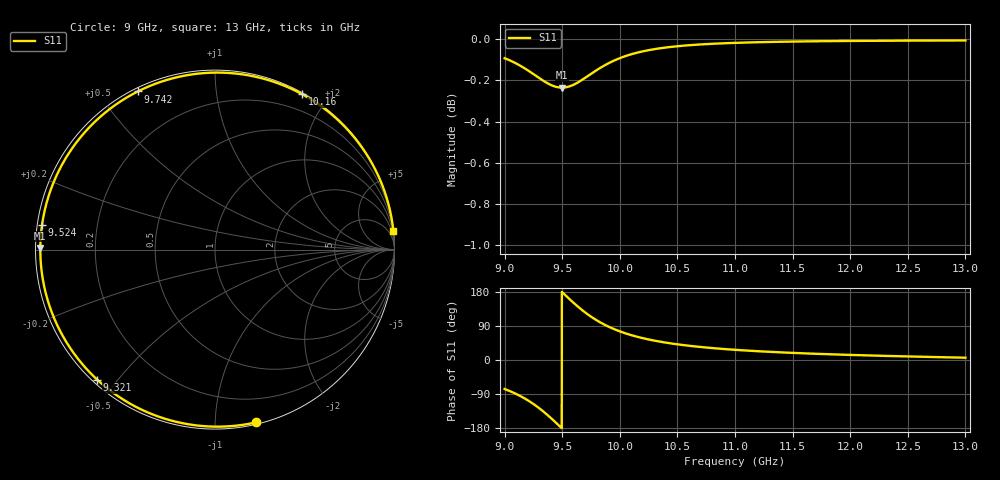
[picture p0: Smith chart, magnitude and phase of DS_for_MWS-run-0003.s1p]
! TOUCHSTONE file generated by CST DESIGN STUDIO
! Date and time: Wed Feb  5 13:28:53 2025
! Project name: C:\Work\MatlabApps\UnitCellOptimizationMatlab\CST\unitcell.cst
! Tree item: Tasks\Sweep1\SPara1\S-Parameters
! Header version: 2024
! Port assignment regex: !\s*Touchstone port\s*([0-9]+)\s*=\s*(CST MWS port|CST DES external port|CST DES block port)\s*(.+)\s* \(\"(.*)\"\)(\s*mode\s*([0-9]+))?.*
! Touchstone port assignment:
! Touchstone port 1 = CST DES external port 1 ("")
# GHz S MA R 50
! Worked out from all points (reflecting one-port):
!   4001 points, 9 GHz to 13 GHz, reference 50 ohm
!   lowest |S11| = -0.2 dB at 9.498 GHz (marker M1), VSWR 73.89, Z = 0.677 + j0.242 ohm
!   phase of S11 starts at -77 deg and turns -277 deg over the sweep
!   S11 on the Smith chart (normalised r, x): 9 GHz: 0.01, -1.27; 9.321 GHz: 0.01, -0.44; 9.524 GHz: 0.01, +0.07; 9.742 GHz: 0.01, +0.62; 10.16 GHz: 0.01, +1.70; 13 GHz: 0, +19
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9  0.9895 -76.6
9.083  0.9871 -87.1
9.184  0.9835 -103.2
9.255  0.9805 -117.1
9.321  0.9777 -132.1
9.368  0.9758 -144.0
9.418  0.9743 -157.6
9.459  0.9735 -169.3
9.498  0.9733 179.4
9.5  0.9733 178.9
9.524  0.9734 171.9
9.578  0.9743 156.6
9.638  0.9762 140.4
9.689  0.9782 127.8
9.742  0.9805 116.0
9.795  0.9827 105.5
9.853  0.985 95.5
9.926  0.9874 84.7
10  0.9895 75.6
10.157  0.9926 60.8
10.313  0.9946 50.4
10.5  0.9961 41.4
10.722  0.9972 33.7
11  0.998 26.9
11.5  0.9987 18.8
12  0.9991 13.4
12.5  0.9992 9.4
13  0.9993 6.1
